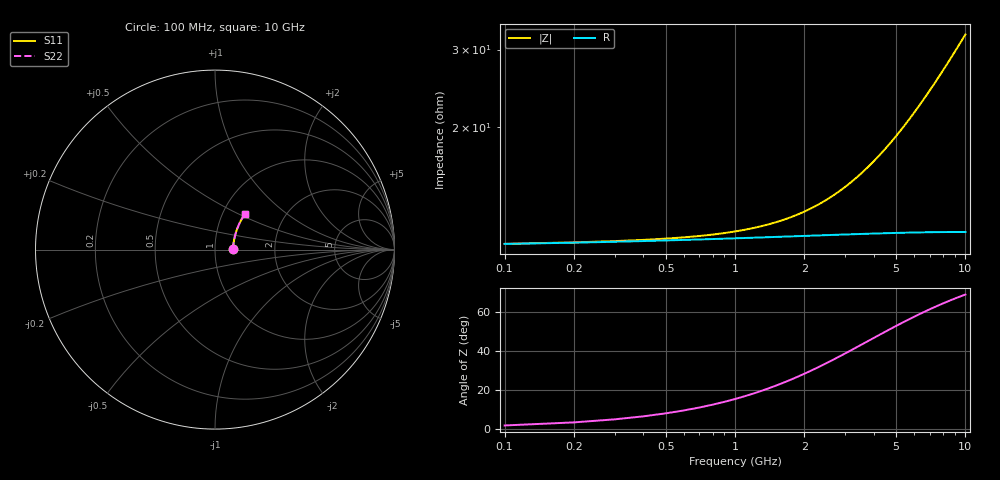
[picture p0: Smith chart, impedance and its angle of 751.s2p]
# Hz S RI R 50.00
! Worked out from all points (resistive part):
!   100 points, 100 MHz to 10 GHz, reference 50 ohm
!   read as one part in series: R = 10.9 ohm at 100 MHz
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1e8  0.0981 0.00218  0.9019 -0.00278  0.9019 -0.00278  0.0981 0.00218
2e8  0.0987 0.00435  0.9013 -0.00555  0.9013 -0.00555  0.0987 0.00435
7e8  0.1005 0.0152  0.8995 -0.0194  0.8995 -0.0194  0.1005 0.0152
1e9  0.1014 0.0216  0.8986 -0.0276  0.8986 -0.0276  0.1014 0.0216
1.2e9  0.102 0.0259  0.898 -0.0331  0.898 -0.0331  0.102 0.0259
1.4e9  0.1026 0.0302  0.8974 -0.0386  0.8974 -0.0386  0.1026 0.0302
1.8e9  0.1039 0.0388  0.8961 -0.0495  0.8961 -0.0495  0.1039 0.0388
2.1e9  0.1049 0.0451  0.895 -0.0577  0.895 -0.0577  0.1049 0.0451
2.5e9  0.1064 0.0536  0.8934 -0.0686  0.8934 -0.0686  0.1064 0.0536
2.9e9  0.1081 0.062  0.8917 -0.0794  0.8917 -0.0794  0.1081 0.062
3.4e9  0.1105 0.0725  0.8893 -0.0928  0.8893 -0.0928  0.1105 0.0725
4.3e9  0.1154 0.0911  0.8842 -0.1168  0.8842 -0.1168  0.1154 0.0911
5.1e9  0.1206 0.1072  0.8789 -0.1378  0.8789 -0.1378  0.1206 0.1072
5.9e9  0.1264 0.1231  0.8729 -0.1584  0.8729 -0.1584  0.1264 0.1231
6.3e9  0.1296 0.1309  0.8696 -0.1686  0.8696 -0.1686  0.1296 0.1309
6.7e9  0.1329 0.1386  0.8662 -0.1787  0.8662 -0.1787  0.1329 0.1386
7.1e9  0.1365 0.1462  0.8625 -0.1887  0.8625 -0.1887  0.1365 0.1462
7.5e9  0.1402 0.1536  0.8587 -0.1986  0.8587 -0.1986  0.1402 0.1536
7.9e9  0.144 0.161  0.8548 -0.2084  0.8548 -0.2084  0.144 0.161
8.4e9  0.149 0.17  0.8496 -0.2204  0.8496 -0.2204  0.149 0.17
9.2e9  0.1576 0.184  0.8408 -0.2392  0.8408 -0.2392  0.1576 0.184
1e10  0.1667 0.1976  0.8314 -0.2576  0.8314 -0.2576  0.1667 0.1976
